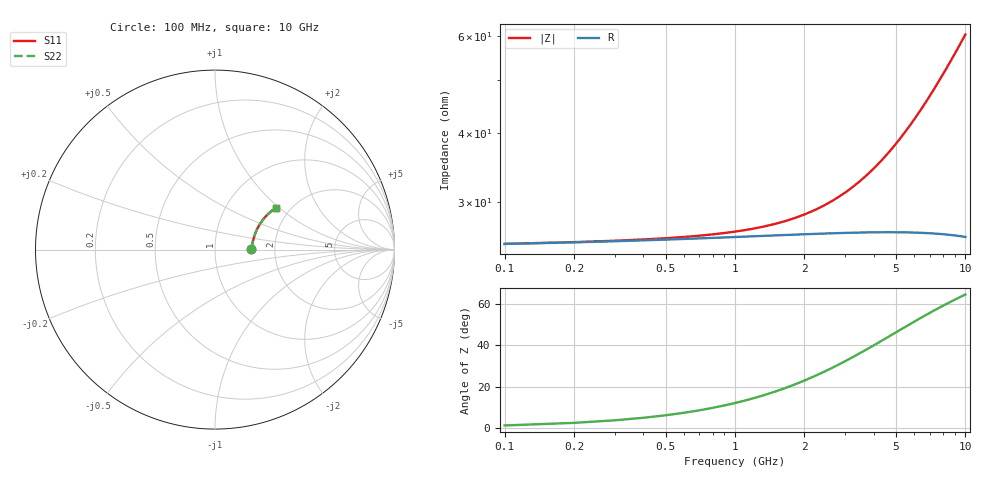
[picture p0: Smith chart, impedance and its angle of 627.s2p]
# Hz S RI R 50.00
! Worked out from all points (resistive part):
!   100 points, 100 MHz to 10 GHz, reference 50 ohm
!   read as one part in series: R = 25.2 ohm at 100 MHz
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1e8  0.2013 0.00297  0.7987 -0.00408  0.7987 -0.00408  0.2013 0.00297
2e8  0.2024 0.00593  0.7976 -0.00814  0.7976 -0.00814  0.2024 0.00593
3e8  0.2032 0.00887  0.7968 -0.0122  0.7968 -0.0122  0.2032 0.00887
8e8  0.2063 0.0235  0.7936 -0.0323  0.7936 -0.0323  0.2063 0.0235
1.1e9  0.2081 0.0321  0.7918 -0.0443  0.7918 -0.0443  0.2081 0.0321
1.4e9  0.2099 0.0407  0.7899 -0.0562  0.7899 -0.0562  0.2099 0.0407
1.8e9  0.2126 0.0521  0.7871 -0.072  0.7871 -0.072  0.2126 0.0521
2.1e9  0.2149 0.0605  0.7848 -0.0838  0.7848 -0.0838  0.2149 0.0605
2.5e9  0.2181 0.0716  0.7814 -0.0994  0.7814 -0.0994  0.2181 0.0716
2.9e9  0.2217 0.0826  0.7777 -0.1147  0.7777 -0.1147  0.2217 0.0826
3.4e9  0.2268 0.096  0.7724 -0.1337  0.7724 -0.1337  0.2268 0.096
4.2e9  0.2361 0.1167  0.7627 -0.1634  0.7627 -0.1634  0.2361 0.1167
4.6e9  0.2412 0.1268  0.7573 -0.1779  0.7573 -0.1779  0.2412 0.1268
5.1e9  0.2482 0.1389  0.75 -0.1956  0.75 -0.1956  0.2482 0.1389
5.9e9  0.2604 0.1575  0.7372 -0.2231  0.7372 -0.2231  0.2604 0.1575
6.7e9  0.2738 0.1748  0.7231 -0.2494  0.7231 -0.2494  0.2738 0.1748
7.2e9  0.2827 0.185  0.7137 -0.2651  0.7137 -0.2651  0.2827 0.185
7.6e9  0.2902 0.1928  0.7059 -0.2774  0.7059 -0.2774  0.2902 0.1928
8.4e9  0.3057 0.2073  0.6895 -0.3009  0.6895 -0.3009  0.3057 0.2073
8.8e9  0.3137 0.214  0.6809 -0.3121  0.6809 -0.3121  0.3137 0.214
9.2e9  0.3219 0.2203  0.6722 -0.323  0.6722 -0.323  0.3219 0.2203
1e10  0.3388 0.232  0.6542 -0.3437  0.6542 -0.3437  0.3388 0.232
